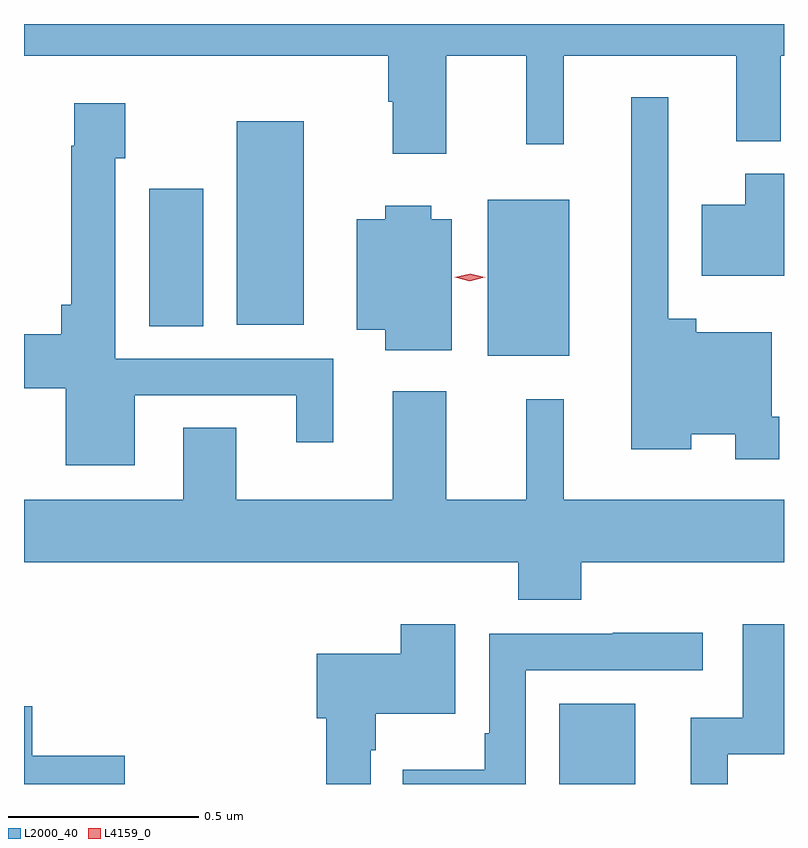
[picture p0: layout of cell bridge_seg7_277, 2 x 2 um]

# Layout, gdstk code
import gdstk
lib = gdstk.Library(unit=1e-6, precision=1e-09)
def R(c, l, rs):  # rectangles x0, y0, x1, y1
    for r in rs: c.add(gdstk.rectangle(r[:2], r[2:], *l))
def P(c, l, *ps):  # polygons
    for p in ps: c.add(gdstk.Polygon(p, *l))
L2000_40 = (2000, 40)
L4159_0 = (4159, 0)

bridge_seg7_277 = lib.new_cell('bridge_seg7_277')
R(bridge_seg7_277, L2000_40, [(199.733,1049.316,199.933,1049.527), (199.544,1050.443,199.759,1050.853), (198.653,1050.52,198.796,1050.883), (198.884,1050.524,199.06,1051.06)])
P(bridge_seg7_277, L2000_40, [(199.435,1051.232),(199.646,1051.232),(199.646,1050.999),(199.745,1050.999),(199.745,1051.232),(200.198,1051.232),(200.198,1051.007),(200.315,1051.007),(200.315,1051.232),(200.324,1051.232),(200.324,1051.316),(198.324,1051.316),(198.324,1051.232),(199.283,1051.232),(199.283,1051.112),(199.295,1051.112),(199.295,1050.975),(199.435,1050.975)],
  [(200.312,1050.283),(200.292,1050.283),(200.292,1050.505),(200.093,1050.505),(200.093,1050.541),(200.019,1050.541),(200.019,1051.123),(199.922,1051.123),(199.922,1050.197),(200.08,1050.197),(200.08,1050.236),(200.196,1050.236),(200.196,1050.171),(200.312,1050.171)],
  [(198.616,1050.339),(199.04,1050.339),(199.04,1050.216),(199.138,1050.216),(199.138,1050.435),(198.564,1050.435),(198.564,1050.963),(198.591,1050.963),(198.591,1051.108),(198.456,1051.108),(198.456,1050.995),(198.448,1050.995),(198.448,1050.577),(198.422,1050.577),(198.422,1050.5),(198.324,1050.5),(198.324,1050.358),(198.434,1050.358),(198.434,1050.155),(198.616,1050.155)],
  [(200.324,1050.922),(200.222,1050.922),(200.222,1050.841),(200.108,1050.841),(200.108,1050.653),(200.324,1050.653)],
  [(199.45,1050.802),(199.396,1050.802),(199.396,1050.838),(199.274,1050.838),(199.274,1050.802),(199.199,1050.802),(199.199,1050.512),(199.274,1050.512),(199.274,1050.458),(199.45,1050.458)],
  [(199.79,1049.9),(200.324,1049.9),(200.324,1050.064),(199.744,1050.064),(199.744,1050.328),(199.646,1050.328),(199.646,1050.064),(199.435,1050.064),(199.435,1050.349),(199.295,1050.349),(199.295,1050.064),(198.883,1050.064),(198.883,1050.254),(198.743,1050.254),(198.743,1050.064),(198.324,1050.064),(198.324,1049.9),(199.625,1049.9),(199.625,1049.801),(199.79,1049.801)],
  [(200.176,1049.394),(200.324,1049.394),(200.324,1049.737),(200.216,1049.737),(200.216,1049.49),(200.078,1049.49),(200.078,1049.316),(200.176,1049.316)],
  [(199.236,1049.405),(199.249,1049.405),(199.249,1049.501),(199.459,1049.501),(199.459,1049.737),(199.316,1049.737),(199.316,1049.659),(199.094,1049.659),(199.094,1049.489),(199.12,1049.489),(199.12,1049.316),(199.236,1049.316)],
  [(199.644,1049.616),(200.11,1049.616),(200.11,1049.714),(199.873,1049.714),(199.873,1049.712),(199.548,1049.712),(199.548,1049.449),(199.536,1049.449),(199.536,1049.353),(199.321,1049.353),(199.321,1049.316),(199.644,1049.316)],
  [(198.589,1049.39),(198.346,1049.39),(198.346,1049.521),(198.324,1049.521),(198.324,1049.316),(198.589,1049.316)])
P(bridge_seg7_277, L4159_0, [(199.497,1050.639),(199.458,1050.65),(199.458,1050.65),(199.458,1050.65),(199.498,1050.659),(199.537,1050.649),(199.538,1050.649),(199.537,1050.649)])

lib.write_gds('bridge_seg7_277.gds')
